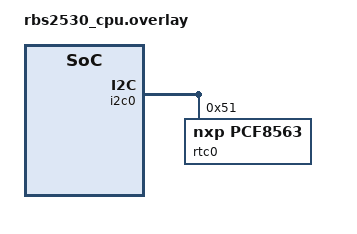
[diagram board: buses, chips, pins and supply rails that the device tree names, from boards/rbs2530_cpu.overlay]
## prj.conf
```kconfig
CONFIG_SHELL=y
CONFIG_RTC=y
CONFIG_RTC_SHELL=y
```

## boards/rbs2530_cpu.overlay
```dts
/ {
	aliases {
		my-i2c = &i2c0;
	};
};

&i2c0 {
	pinctrl-0 = <&i2c0_pins_mio_50>, <&i2c0_pins_mio_51>;
	pinctrl-names = "default";
	status = "okay";

	rtc0: pcf8563@51 {
		compatible = "nxp,pcf8563";
		status = "okay";
		reg = <0x51>;
	};
};
```

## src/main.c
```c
/*
 * Copyright (c) 2025 SYSTech Co.
 *
 * SPDX-License-Identifier: Apache-2.0
 */

#include <string.h>

#include <zephyr/kernel.h>

int main(void)
{
	k_sleep(K_FOREVER);
	return 0;
}
```
